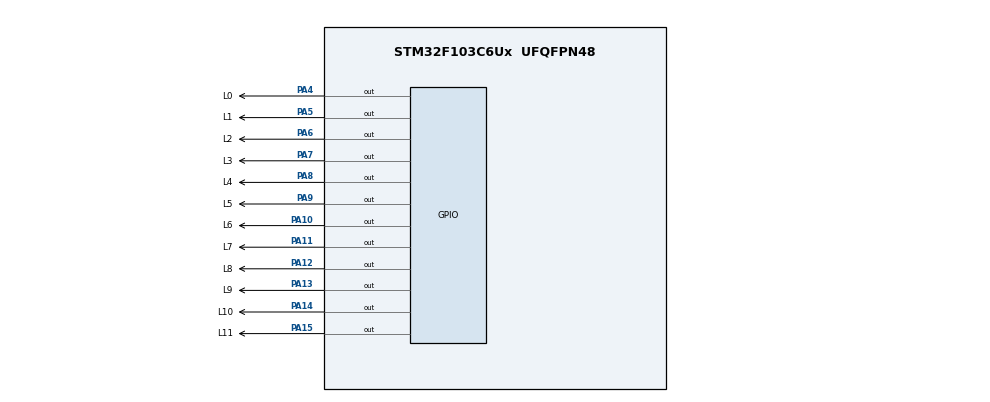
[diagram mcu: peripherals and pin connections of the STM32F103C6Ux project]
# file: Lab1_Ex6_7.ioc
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Mcu.Family=STM32F1
Mcu.Name=STM32F103C6Ux
Mcu.Package=UFQFPN48
NVIC.PriorityGroup=NVIC_PRIORITYGROUP_4
PA10.GPIO_Label=L6
PA10.Signal=GPIO_Output
PA11.GPIO_Label=L7
PA11.Signal=GPIO_Output
PA12.GPIO_Label=L8
PA12.Signal=GPIO_Output
PA13.GPIO_Label=L9
PA13.Signal=GPIO_Output
PA14.GPIO_Label=L10
PA14.Signal=GPIO_Output
PA15.GPIO_Label=L11
PA15.Signal=GPIO_Output
PA4.GPIO_Label=L0
PA4.Signal=GPIO_Output
PA5.GPIO_Label=L1
PA5.Signal=GPIO_Output
PA6.GPIO_Label=L2
PA6.Signal=GPIO_Output
PA7.GPIO_Label=L3
PA7.Signal=GPIO_Output
PA8.GPIO_Label=L4
PA8.Signal=GPIO_Output
PA9.GPIO_Label=L5
PA9.Signal=GPIO_Output
ProjectManager.HeapSize=0x200
ProjectManager.StackSize=0x400
ProjectManager.TargetToolchain=STM32CubeIDE
RCC.APB1Freq_Value=8000000
RCC.APB2Freq_Value=8000000
board=custom

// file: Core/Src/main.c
/* USER CODE BEGIN Header */
/**
  ******************************************************************************
  * @file           : main.c
  * @brief          : Main program body
  ******************************************************************************
  * @attention
  *
  * Copyright (c) 2023 STMicroelectronics.
  * All rights reserved.
  *
  * This software is licensed under terms that can be found in the LICENSE file
  * in the root directory of this software component.
  * If no LICENSE file comes with this software, it is provided AS-IS.
  *
  ******************************************************************************
  */
/* USER CODE END Header */
#include "main.h"

void SystemClock_Config(void);
static void MX_GPIO_Init(void);

/* USER CODE BEGIN 0 */
void clearAllClock()
{
  HAL_GPIO_WritePin(L0_GPIO_Port, L0_Pin, GPIO_PIN_SET);
  HAL_GPIO_WritePin(L1_GPIO_Port, L1_Pin, GPIO_PIN_SET);
  HAL_GPIO_WritePin(L2_GPIO_Port, L2_Pin, GPIO_PIN_SET);
  HAL_GPIO_WritePin(L3_GPIO_Port, L3_Pin, GPIO_PIN_SET);
  HAL_GPIO_WritePin(L4_GPIO_Port, L4_Pin, GPIO_PIN_SET);
  HAL_GPIO_WritePin(L5_GPIO_Port, L5_Pin, GPIO_PIN_SET);
  HAL_GPIO_WritePin(L6_GPIO_Port, L6_Pin, GPIO_PIN_SET);
  HAL_GPIO_WritePin(L7_GPIO_Port, L7_Pin, GPIO_PIN_SET);
  HAL_GPIO_WritePin(L8_GPIO_Port, L8_Pin, GPIO_PIN_SET);
  HAL_GPIO_WritePin(L9_GPIO_Port, L9_Pin, GPIO_PIN_SET);
  HAL_GPIO_WritePin(L10_GPIO_Port, L10_Pin, GPIO_PIN_SET);
  HAL_GPIO_WritePin(L11_GPIO_Port, L11_Pin, GPIO_PIN_SET);
}
void clearNumberOnBlock(int num)
{
  switch (num)
  {
  case 0:
    HAL_GPIO_WritePin(L0_GPIO_Port, L0_Pin, GPIO_PIN_SET);
    break;
  case 1:
    HAL_GPIO_WritePin(L1_GPIO_Port, L1_Pin, GPIO_PIN_SET);
    break;
  case 2:
    HAL_GPIO_WritePin(L2_GPIO_Port, L2_Pin, GPIO_PIN_SET);
    break;
  case 3:
    HAL_GPIO_WritePin(L3_GPIO_Port, L3_Pin, GPIO_PIN_SET);
    break;
  case 4:
    HAL_GPIO_WritePin(L4_GPIO_Port, L4_Pin, GPIO_PIN_SET);
    break;
  case 5:
    HAL_GPIO_WritePin(L5_GPIO_Port, L5_Pin, GPIO_PIN_SET);
    break;
  case 6:
    HAL_GPIO_WritePin(L6_GPIO_Port, L6_Pin, GPIO_PIN_SET);
    break;
  case 7:
    HAL_GPIO_WritePin(L7_GPIO_Port, L7_Pin, GPIO_PIN_SET);
    break;
  case 8:
    HAL_GPIO_WritePin(L8_GPIO_Port, L8_Pin, GPIO_PIN_SET);
    break;
  case 9:
    HAL_GPIO_WritePin(L9_GPIO_Port, L9_Pin, GPIO_PIN_SET);
    break;
  case 10:
    HAL_GPIO_WritePin(L10_GPIO_Port, L10_Pin, GPIO_PIN_SET);
    break;
  default:
    HAL_GPIO_WritePin(L11_GPIO_Port, L11_Pin, GPIO_PIN_SET);
  }
}
void setNumberOnBlock(int num)
{
  switch (num)
  {
  case 0:
    HAL_GPIO_WritePin(L0_GPIO_Port, L0_Pin, GPIO_PIN_RESET);
    break;
  case 1:
    HAL_GPIO_WritePin(L1_GPIO_Port, L1_Pin, GPIO_PIN_RESET);
    break;
  case 2:
    HAL_GPIO_WritePin(L2_GPIO_Port, L2_Pin, GPIO_PIN_RESET);
    break;
  case 3:
    HAL_GPIO_WritePin(L3_GPIO_Port, L3_Pin, GPIO_PIN_RESET);
    break;
  case 4:
    HAL_GPIO_WritePin(L4_GPIO_Port, L4_Pin, GPIO_PIN_RESET);
    break;
  case 5:
    HAL_GPIO_WritePin(L5_GPIO_Port, L5_Pin, GPIO_PIN_RESET);
    break;
  case 6:
    HAL_GPIO_WritePin(L6_GPIO_Port, L6_Pin, GPIO_PIN_RESET);
    break;
  case 7:
    HAL_GPIO_WritePin(L7_GPIO_Port, L7_Pin, GPIO_PIN_RESET);
    break;
  case 8:
    HAL_GPIO_WritePin(L8_GPIO_Port, L8_Pin, GPIO_PIN_RESET);
    break;
  case 9:
    HAL_GPIO_WritePin(L9_GPIO_Port, L9_Pin, GPIO_PIN_RESET);
    break;
  case 10:
    HAL_GPIO_WritePin(L10_GPIO_Port, L10_Pin, GPIO_PIN_RESET);
    break;
  default:
    HAL_GPIO_WritePin(L11_GPIO_Port, L11_Pin, GPIO_PIN_RESET);
  }
}
// void setTime(int sec, int min, int hou)
// {
//   clearAllClock();
//   setNumberOnBlock(sec);
//   setNumberOnBlock(min);
//   setNumberOnBlock(hou);
// }
/* USER CODE END 0 */

int main(void)
{

  /* MCU Configuration--------------------------------------------------------*/

  /* Reset of all peripherals, Initializes the Flash interface and the Systick. */
  HAL_Init();

  /* Configure the system clock */
  SystemClock_Config();

  /* Initialize all configured peripherals */
  MX_GPIO_Init();

  /* Infinite loop */
  /* USER CODE BEGIN WHILE */
  int sec = -1;
    int min = 0;
    int hou = 0;
  while (1)
  {sec++;
  if (sec >= 12)
  {
    sec = 0;
    min++;
  }
  if (min >= 12)
  {
    min = 0;
    hou++;
  }
  if (hou >= 12)
  {
    hou = 0;
  }
  clearAllClock();
  setNumberOnBlock(sec);
  setNumberOnBlock(min);
  setNumberOnBlock(hou);
  HAL_Delay(5000);
}
//Lab6, test each single led
	// HAL_GPIO_TogglePin(L1_GPIO_Port, L1_Pin);
	// HAL_Delay(1000);
	// HAL_GPIO_TogglePin(L2_GPIO_Port, L2_Pin);
	// HAL_Delay(1000);
	// HAL_GPIO_TogglePin(L3_GPIO_Port, L3_Pin);
	// HAL_Delay(1000);
	// HAL_GPIO_TogglePin(L4_GPIO_Port, L4_Pin);
	// HAL_Delay(1000);
	// HAL_GPIO_TogglePin(L5_GPIO_Port, L5_Pin);
	// HAL_Delay(1000);
	// HAL_GPIO_TogglePin(L6_GPIO_Port, L6_Pin);
	// HAL_Delay(1000);
	// HAL_GPIO_TogglePin(L7_GPIO_Port, L7_Pin);
	// HAL_Delay(1000);
	// HAL_GPIO_TogglePin(L8_GPIO_Port, L8_Pin);
	// HAL_Delay(1000);
	// HAL_GPIO_TogglePin(L9_GPIO_Port, L9_Pin);
	// HAL_Delay(1000);
	// HAL_GPIO_TogglePin(L10_GPIO_Port, L10_Pin);
	// HAL_Delay(1000);
	// HAL_GPIO_TogglePin(L11_GPIO_Port, L11_Pin);
	// HAL_Delay(1000);
	// HAL_GPIO_TogglePin(L12_GPIO_Port, L12_Pin);
	// HAL_Delay(1000);
    /* USER CODE END WHILE */

}

void SystemClock_Config(void)
{
  RCC_OscInitTypeDef RCC_OscInitStruct = {0};
  RCC_ClkInitTypeDef RCC_ClkInitStruct = {0};

  /** Initializes the RCC Oscillators according to the specified parameters
  * in the RCC_OscInitTypeDef structure.
  */
  RCC_OscInitStruct.OscillatorType = RCC_OSCILLATORTYPE_HSI;
  RCC_OscInitStruct.HSIState = RCC_HSI_ON;
  RCC_OscInitStruct.HSICalibrationValue = RCC_HSICALIBRATION_DEFAULT;
  RCC_OscInitStruct.PLL.PLLState = RCC_PLL_NONE;
  if (HAL_RCC_OscConfig(&RCC_OscInitStruct) != HAL_OK)
  {
    Error_Handler();
  }

  /** Initializes the CPU, AHB and APB buses clocks
  */
  RCC_ClkInitStruct.ClockType = RCC_CLOCKTYPE_HCLK|RCC_CLOCKTYPE_SYSCLK
                              |RCC_CLOCKTYPE_PCLK1|RCC_CLOCKTYPE_PCLK2;
  RCC_ClkInitStruct.SYSCLKSource = RCC_SYSCLKSOURCE_HSI;
  RCC_ClkInitStruct.AHBCLKDivider = RCC_SYSCLK_DIV1;
  RCC_ClkInitStruct.APB1CLKDivider = RCC_HCLK_DIV1;
  RCC_ClkInitStruct.APB2CLKDivider = RCC_HCLK_DIV1;

  if (HAL_RCC_ClockConfig(&RCC_ClkInitStruct, FLASH_LATENCY_0) != HAL_OK)
  {
    Error_Handler();
  }
}

static void MX_GPIO_Init(void)
{
  GPIO_InitTypeDef GPIO_InitStruct = {0};

  /* GPIO Ports Clock Enable */
  __HAL_RCC_GPIOA_CLK_ENABLE();

  /*Configure GPIO pin Output Level */
  HAL_GPIO_WritePin(GPIOA, L0_Pin|L1_Pin|L2_Pin|L3_Pin
                          |L4_Pin|L5_Pin|L6_Pin|L7_Pin
                          |L8_Pin|L9_Pin|L10_Pin|L11_Pin, GPIO_PIN_RESET);

  /*Configure GPIO pins : L0_Pin L1_Pin L2_Pin L3_Pin
                           L4_Pin L5_Pin L6_Pin L7_Pin
                           L8_Pin L9_Pin L10_Pin L11_Pin */
  GPIO_InitStruct.Pin = L0_Pin|L1_Pin|L2_Pin|L3_Pin
                          |L4_Pin|L5_Pin|L6_Pin|L7_Pin
                          |L8_Pin|L9_Pin|L10_Pin|L11_Pin;
  GPIO_InitStruct.Mode = GPIO_MODE_OUTPUT_PP;
  GPIO_InitStruct.Pull = GPIO_NOPULL;
  GPIO_InitStruct.Speed = GPIO_SPEED_FREQ_LOW;
  HAL_GPIO_Init(GPIOA, &GPIO_InitStruct);

}

void Error_Handler(void)
{
  __disable_irq();
  while (1)
  {
  }
}
